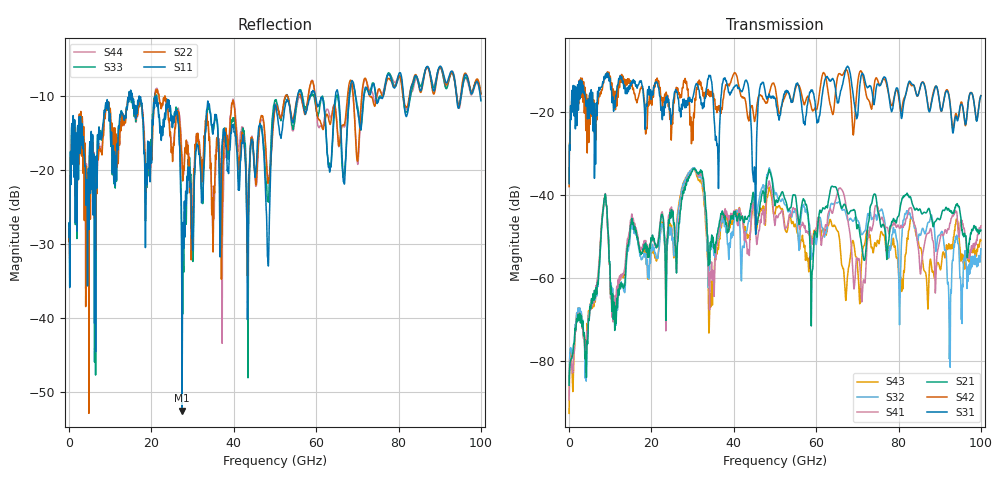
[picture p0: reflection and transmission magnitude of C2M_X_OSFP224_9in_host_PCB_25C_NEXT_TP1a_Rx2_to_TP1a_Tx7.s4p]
# GHz S RI R 45
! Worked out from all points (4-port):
!   4000 points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, 25 MHz to 100 GHz, reference 45 ohm
!   strongest paths, dB at 25 MHz, 25.02 GHz, 50.02 GHz, 75.03 GHz, 100 GHz:
!     S31: -37.2, -20.6, -16.7, -13.2, -16.0
!     S42: -37.9, -22.2, -13.8, -12.5, -15.9
!     S21: -85.9, -45.1, -42.6, -44.1, -48.5
!     S41: -89.4, -44.4, -47.2, -43.0, -47.4
!     S32: -85.4, -50.7, -39.8, -44.3, -53.0
!     S43: -92.7, -50.0, -44.5, -51.1, -51.0
!   lowest |S11| = -52.6 dB at 27.45 GHz (marker M1), VSWR 1.00, Z = 44.8 + j0.0117 ohm
!   |S11| at or under -10 dB: start of sweep to 14.55 GHz; 20.94 GHz to 55.47 GHz (34.53 GHz wide, 90.4 % of centre); 59.86 GHz to 64.68 GHz (4.82 GHz wide, 7.74 % of centre)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
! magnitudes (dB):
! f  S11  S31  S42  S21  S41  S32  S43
! 25 MHz  -29.1  -37.2  -37.9  -85.9  -89.4  -85.4  -92.7
! 8.65 GHz  -12.0  -11.8  -11.4  -40.7  -40.5  -40.8  -40.7
! 11.18 GHz  -21.4  -18.7  -16.3  -69.1  -65.6  -69.2  -66.7
! 27.45 GHz  -52.6  -19.1  -14.4  -40.9  -40.3  -38.7  -38.2
! 34.35 GHz  -12.2  -11.2  -15.1  -51.4  -58.9  -52.1  -65.6
! 44.95 GHz  -19.3  -34.4  -21.8  -40.9  -43.4  -40.9  -43.4
! 100 GHz  -10.6  -16.0  -15.9  -48.5  -47.4  -53.0  -51.0
